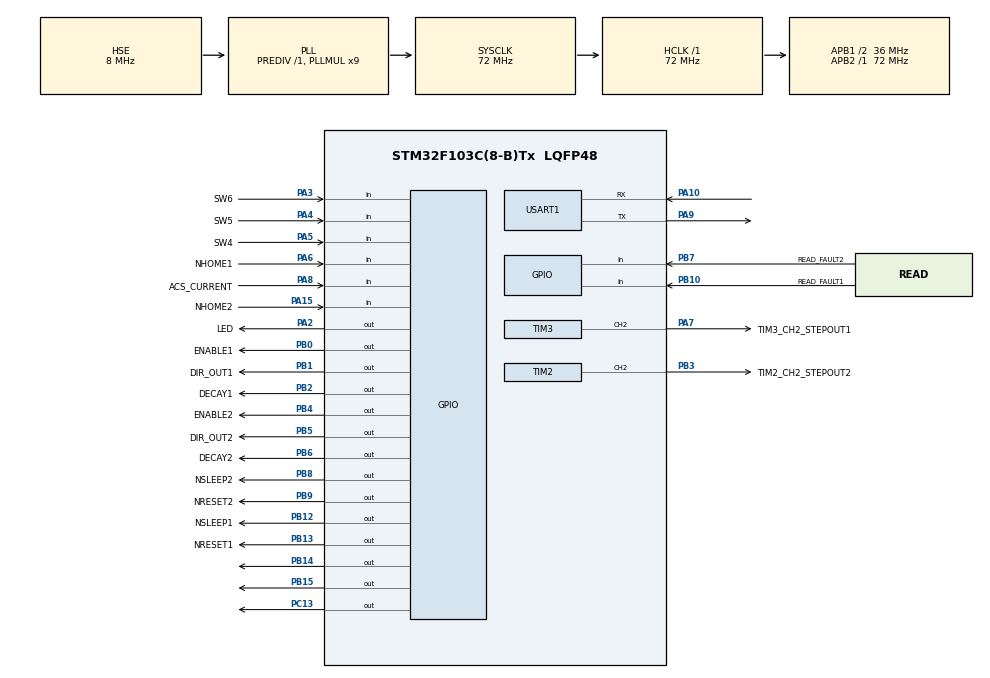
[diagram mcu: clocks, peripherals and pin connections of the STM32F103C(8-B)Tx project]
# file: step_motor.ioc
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Mcu.Family=STM32F1
Mcu.Name=STM32F103C(8-B)Tx
Mcu.Package=LQFP48
NVIC.PriorityGroup=NVIC_PRIORITYGROUP_4
NVIC.TIM2_IRQn=true\:0\:0\:false\:false\:true\:true\:true
NVIC.TIM3_IRQn=true\:0\:0\:false\:false\:true\:true\:true
NVIC.USART1_IRQn=true\:0\:0\:false\:false\:true\:true\:true
PA10.Mode=Asynchronous
PA10.Signal=USART1_RX
PA13.Mode=Serial_Wire
PA13.Signal=SYS_JTMS-SWDIO
PA14.Mode=Serial_Wire
PA14.Signal=SYS_JTCK-SWCLK
PA15.GPIO_Label=NHOME2
PA15.GPIO_PuPd=GPIO_PULLUP
PA15.Signal=GPIO_Input
PA2.GPIO_Label=LED
PA2.PinState=GPIO_PIN_SET
PA2.Signal=GPIO_Output
PA3.GPIO_Label=SW6
PA3.Signal=GPIO_Input
PA4.GPIO_Label=SW5
PA4.Signal=GPIO_Input
PA5.GPIO_Label=SW4
PA5.Signal=GPIO_Input
PA6.GPIO_Label=NHOME1
PA6.GPIO_PuPd=GPIO_PULLUP
PA6.Signal=GPIO_Input
PA7.GPIO_Label=TIM3_CH2_STEPOUT1
PA7.Signal=S_TIM3_CH2
PA8.GPIO_Label=ACS_CURRENT
PA8.Signal=GPIO_Input
PA9.Mode=Asynchronous
PA9.Signal=USART1_TX
PB0.GPIO_Label=ENABLE1
PB0.PinState=GPIO_PIN_RESET
PB0.Signal=GPIO_Output
PB1.GPIO_Label=DIR_OUT1
PB1.Signal=GPIO_Output
PB10.GPIO_Label=READ_FAULT1
PB10.GPIO_PuPd=GPIO_PULLUP
PB10.Signal=GPIO_Input
PB12.GPIO_Label=NSLEEP1
PB12.PinState=GPIO_PIN_SET
PB12.Signal=GPIO_Output
PB13.GPIO_Label=NRESET1
PB13.PinState=GPIO_PIN_SET
PB13.Signal=GPIO_Output
PB14.Signal=GPIO_Output
PB15.Signal=GPIO_Output
PB2.GPIO_Label=DECAY1
PB2.PinState=GPIO_PIN_SET
PB2.Signal=GPIO_Output
PB3.GPIO_Label=TIM2_CH2_STEPOUT2
PB3.Signal=S_TIM2_CH2
PB4.GPIO_Label=ENABLE2
PB4.PinState=GPIO_PIN_RESET
PB4.Signal=GPIO_Output
PB5.GPIO_Label=DIR_OUT2
PB5.Signal=GPIO_Output
PB6.GPIO_Label=DECAY2
PB6.PinState=GPIO_PIN_SET
PB6.Signal=GPIO_Output
PB7.GPIO_Label=READ_FAULT2
PB7.GPIO_PuPd=GPIO_PULLUP
PB7.Signal=GPIO_Input
PB8.GPIO_Label=NSLEEP2
PB8.PinState=GPIO_PIN_SET
PB8.Signal=GPIO_Output
PB9.GPIO_Label=NRESET2
PB9.PinState=GPIO_PIN_SET
PB9.Signal=GPIO_Output
PC13-TAMPER-RTC.Signal=GPIO_Output
PD0-OSC_IN.Mode=HSE-External-Oscillator
PD0-OSC_IN.Signal=RCC_OSC_IN
PD1-OSC_OUT.Mode=HSE-External-Oscillator
PD1-OSC_OUT.Signal=RCC_OSC_OUT
ProjectManager.HeapSize=0x200
ProjectManager.StackSize=0x400
ProjectManager.TargetToolchain=STM32CubeIDE
RCC.ADCPresc=RCC_ADCPCLK2_DIV6
RCC.AHBFreq_Value=72000000
RCC.APB1CLKDivider=RCC_HCLK_DIV2
RCC.APB1Freq_Value=36000000
RCC.APB1TimFreq_Value=72000000
RCC.APB2Freq_Value=72000000
RCC.APB2TimFreq_Value=72000000
RCC.HCLKFreq_Value=72000000
RCC.PLLMUL=RCC_PLL_MUL9
RCC.PLLSourceVirtual=RCC_PLLSOURCE_HSE
RCC.SYSCLKFreq_VALUE=72000000
RCC.SYSCLKSource=RCC_SYSCLKSOURCE_PLLCLK
RCC.USBFreq_Value=72000000
SH.S_TIM2_CH2.0=TIM2_CH2,PWM Generation2 CH2
SH.S_TIM3_CH2.0=TIM3_CH2,PWM Generation2 CH2
TIM2.Channel-PWM\ Generation2\ CH2=TIM_CHANNEL_2
TIM2.Period=10
TIM2.Prescaler=72
TIM3.Channel-PWM\ Generation2\ CH2=TIM_CHANNEL_2
TIM3.Period=10
TIM3.Prescaler=72
USART1.VirtualMode=VM_ASYNC
VP_TIM1_VS_OPM.Mode=OPM_bit
VP_TIM2_VS_ClockSourceINT.Mode=Internal
VP_TIM3_VS_ClockSourceINT.Mode=Internal
board=custom

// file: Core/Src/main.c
/* USER CODE BEGIN Header */
/**
  ******************************************************************************
  * @file           : main.c
  * @brief          : Main program body
  ******************************************************************************
  * @attention
  *
  * <h2><center>&copy; Copyright (c) 2020 STMicroelectronics.
  * All rights reserved.</center></h2>
  *
  * This software component is licensed by ST under BSD 3-Clause license,
  * the "License"; You may not use this file except in compliance with the
  * License. You may obtain a copy of the License at:
  *                        opensource.org/licenses/BSD-3-Clause
  *
  ******************************************************************************
  */
/* USER CODE END Header */
#include "main.h"
#include "tim.h"
#include "usart.h"
#include "gpio.h"

/* USER CODE BEGIN Includes */
#include "dwt_stm32_delay.h"
#include "stdbool.h"
#include "stdio.h"

long int global_poz_x_axis=0;
long int global_poz_y_axis=0;

bool pwm_mode=true;

long step_x_axis=0;
bool direction_x_axis=false;

long step_y_axis=0;
bool direction_y_axis=false;

#define CCW  1
#define CW  -1

#ifdef __GNUC__
	#define PUTCHAR_PROTOTYPE int __io_putchar(int ch)
	#else
	#define PUTCHAR_PROTOTYPE int fputc(int ch,FILE *f)
	#endif

	PUTCHAR_PROTOTYPE
	{
	    HAL_UART_Transmit(&huart1,(uint8_t*)&ch,1,100);

		return ch;

	}

	char board_id='1';

	char motor_id1='1';
	char motor_id2='2';

/* USER CODE END Includes */

void SystemClock_Config(void);
/* USER CODE BEGIN PFP */

void send_set_step_dir_PWM_X_axis(uint32_t step , int dir , uint16_t speed);
void send_set_step_dir_PWM_Y_axis(uint32_t step , int dir , uint16_t speed);

/* USER CODE END PFP */

/* USER CODE BEGIN 0 */

//-------- usart 1 var ------

uint8_t Rx_data[2],Rx_indx,Rx_Buffer[100],Transfer_flag;
int i=0;
char buffer[100];
int len;

void HAL_UART_RxCpltCallback(UART_HandleTypeDef *huart)
{
	  uint8_t i;

		if(huart->Instance==USART1)
		{

			//putchar((uint8_t)Rx_data[0]);

				if(Rx_indx==0){ for(i=0 ; i<100 ; i++ )Rx_Buffer[i]=0;}

				if(Rx_data[0]!='*') //cr lf '\r' | '\n'
				{
				  Rx_Buffer[Rx_indx++]=Rx_data[0];
				}
				else
				{
				   Rx_indx=0;
				   Transfer_flag=1;

				   if( Rx_Buffer[0] == 'A' && Rx_Buffer[1] == board_id)
				   {

						   char mstep[6] ="0000";
						   char mspeed[6]="0000";

						   mspeed[0]=Rx_Buffer[7];
						   mspeed[1]=Rx_Buffer[8];
						   mspeed[2]=Rx_Buffer[9];
						   mspeed[3]=Rx_Buffer[10];

						   mstep[0]=Rx_Buffer[12];
						   mstep[1]=Rx_Buffer[13];
						   mstep[2]=Rx_Buffer[14];
						   mstep[3]=Rx_Buffer[15];

						   uint8_t mdir = (Rx_Buffer[5])-48;

						   printf("step=%d, speed=%d, dir:%d\n", atoi(mstep),atoi(mspeed) , mdir );

						   if( Rx_Buffer[3] == motor_id1 )
						   {
							   send_set_step_dir_PWM_X_axis(   atoi(mstep) ,  mdir  ,   atoi(mspeed)  );

						   }
						   else if( Rx_Buffer[3] == motor_id2 )
						   {
							   send_set_step_dir_PWM_Y_axis(   atoi(mstep) ,   mdir   ,   atoi(mspeed)  );

						   }

				    }
				    else if( Rx_Buffer[1] == 'S' && Rx_Buffer[2] == 'T' && Rx_Buffer[3] == 'P' )//STOP
				    {
				    	  printf("STOP MOTOR\n" );
				    	  ENABLE_M_1(1);//0 ENABLE, 1 DISABLE
				    	  ENABLE_M_2(1);//0 ENABLE, 1 DISABLE
				    	  HAL_TIM_PWM_Stop(&htim3, TIM_CHANNEL_2);//stop pulse ch y axis
				    	  HAL_TIM_PWM_Stop(&htim2, TIM_CHANNEL_2);//stop pulse ch y axis
				    }
				    else if( Rx_Buffer[1] == 'S' && Rx_Buffer[2] == 'T' && Rx_Buffer[3] == 'P' )//STOP
					{
						  printf("STOP MOTOR\n" );
						  ENABLE_M_1(1);//0 ENABLE, 1 DISABLE
						  ENABLE_M_2(1);//0 ENABLE, 1 DISABLE
						  HAL_TIM_PWM_Stop(&htim3, TIM_CHANNEL_2);//stop pulse ch y axis
						  HAL_TIM_PWM_Stop(&htim2, TIM_CHANNEL_2);//stop pulse ch y axis
					}
				    else if( Rx_Buffer[1] == 'S' && Rx_Buffer[2] == 'L' && Rx_Buffer[3] == 'P' )//SLEEP
					{
				    	uint8_t s = 48 - (Rx_Buffer[4]) ;

				    	SLEEP_1(s);
						SLEEP_2(s);
					}
				    else if( Rx_Buffer[1] == 'R' && Rx_Buffer[2] == 'P' && Rx_Buffer[3] == 'T' )//SLEEP
					{

				    	if(Rx_Buffer[4] == '1')
				    	{
				    		printf("position motor 1=<%d>\n",global_poz_x_axis);
				    	}
				    	if(Rx_Buffer[4] == '2')
						{
				    		printf("position motor 2=<%d>\n",global_poz_y_axis);
						}

					}
				    else if( Rx_Buffer[1] == 'Z' && Rx_Buffer[2] == 'R' && Rx_Buffer[3] == 'O' )//SLEEP
					{

						if(Rx_Buffer[4] == '1')
						{
							 global_poz_x_axis=0;
						}
						if(Rx_Buffer[4] == '2')
						{
							global_poz_y_axis=0;
						}

					}

				}
				HAL_UART_Receive_IT(&huart1,(uint8_t *)Rx_data,1);

		}

}

//############################ delay mode ##################################################################################

void send_set_step_dir_DLY_x_axis(uint32_t step , int dir,uint16_t speed)
{

	if(dir==1)
	{
		//HAL_GPIO_WritePin(GPIOB, GPIO_PIN_13, GPIO_PIN_SET);
		SET_DIR_1(1);
	}
	else
	{
		SET_DIR_1(0);
		//HAL_GPIO_WritePin(GPIOB, GPIO_PIN_13, GPIO_PIN_RESET);
	}

	for(uint32_t i=0 ; i < step ; i++)
	{
		HAL_GPIO_TogglePin(TIM3_CH2_STEPOUT1_GPIO_Port , TIM3_CH2_STEPOUT1_Pin);
		//HAL_GPIO_WritePin(GPIOB, GPIO_PIN_12, GPIO_PIN_SET);

		DWT_Delay_us(speed);//200
		//HAL_Delay(1);

//		HAL_GPIO_WritePin(GPIOB, GPIO_PIN_12, GPIO_PIN_RESET);
//		DWT_Delay_us(1);

	}

}

void send_set_step_dir_DLY_y_axis(uint32_t step , int dir,uint16_t speed)
{

	if(dir==1)
	{
		//HAL_GPIO_WritePin(GPIOB, GPIO_PIN_13, GPIO_PIN_SET);
		SET_DIR_2(1);
	}
	else
	{
		SET_DIR_2(0);
		//HAL_GPIO_WritePin(GPIOB, GPIO_PIN_13, GPIO_PIN_RESET);
	}

	for(uint32_t i=0 ; i < step ; i++)
	{
		HAL_GPIO_TogglePin(TIM2_CH2_STEPOUT2_GPIO_Port , TIM2_CH2_STEPOUT2_Pin);
		//HAL_GPIO_WritePin(GPIOB, GPIO_PIN_12, GPIO_PIN_SET);

		DWT_Delay_us(speed);//200
		//HAL_Delay(1);

//		HAL_GPIO_WritePin(GPIOB, GPIO_PIN_12, GPIO_PIN_RESET);
//		DWT_Delay_us(1);

	}

}

//########################## pwm mode ####################################################################################
void HAL_TIM_PWM_PulseFinishedCallback(TIM_HandleTypeDef *htim)
{

    if(htim->Instance==TIM3)//interrupt with every pulse for y ch--------------------------------------------------------------------
	{

				    if(direction_x_axis )
					{
				    	step_x_axis--;
				    	global_poz_x_axis--;
				    	if( step_x_axis<=0)//50000 --->>>  step_x_axis = s_value_x_p
						{
						   HAL_TIM_PWM_Stop(&htim3, TIM_CHANNEL_2);//stop pulse ch y axis
						}

					}
				    else
					{

				    	step_x_axis++;
				    	global_poz_x_axis++;
				    	if( step_x_axis>=0)//50000 --->>>  step_x_axis = s_value_x_p
						{
						   HAL_TIM_PWM_Stop(&htim3, TIM_CHANNEL_2);//stop pulse ch y axis
						}
					}

	}

    if(htim->Instance==TIM2)//interrupt with every pulse for y ch--------------------------------------------------------------------
	{

			if(direction_y_axis )
			{
				step_y_axis--;
				global_poz_y_axis--;
				if( step_y_axis<=0)//50000 --->>>  step_x_axis = s_value_x_p
				{
				   HAL_TIM_PWM_Stop(&htim2, TIM_CHANNEL_2);//stop pulse ch y axis
				}
			}
			else
			{
				step_y_axis++;
				global_poz_y_axis++;
				if( step_y_axis>=0)//50000 --->>>  step_x_axis = s_value_x_p
				{
				   HAL_TIM_PWM_Stop(&htim2, TIM_CHANNEL_2);//stop pulse ch y axis
				}
			}

	}

}
//----------------------------------------------
//##########################################################################################
//##########################################################################################
//##########################################################################################

void send_set_step_dir_PWM_X_axis(uint32_t step , int dir , uint16_t speed)
{

	ENABLE_M_1(0);//0 ENABLE, 1 DISABLE

	if(dir==0)
	{
		 direction_x_axis = true;
		 SET_DIR_1(1);
		 step_x_axis = step;
		//HAL_GPIO_WritePin(GPIOB, GPIO_PIN_13, GPIO_PIN_SET);
	}
	else
	{
		step_x_axis = step *(-1);
		direction_x_axis=false;
		SET_DIR_1(0);
		//HAL_GPIO_WritePin(GPIOB, GPIO_PIN_13, GPIO_PIN_RESET);
	}

	//step_x_axis = step;

	htim3.Instance = TIM3;
	htim3.Init.Prescaler = speed-1 ; // 3-1
	htim3.Init.CounterMode = TIM_COUNTERMODE_UP;
	htim3.Init.Period = 100;// speed-1
	htim3.Init.ClockDivision = TIM_CLOCKDIVISION_DIV1;
	htim3.Init.AutoReloadPreload = TIM_AUTORELOAD_PRELOAD_DISABLE;
	HAL_TIM_Base_Init(&htim3) ;

	 HAL_TIM_PWM_Start_IT(&htim3, TIM_CHANNEL_2);
	__HAL_TIM_SET_COMPARE(&htim3, TIM_CHANNEL_2,50);// 40

}

void send_set_step_dir_PWM_Y_axis(uint32_t step , int dir , uint16_t speed)
{

	ENABLE_M_2(0);//0 ENABLE, 1 DISABLE

	if(dir==0)
	{
		direction_y_axis=true;
		 SET_DIR_2(1);
		 step_y_axis = step;
		//HAL_GPIO_WritePin(GPIOB, GPIO_PIN_13, GPIO_PIN_SET);
	}
	else
	{
		step_y_axis = step *(-1);
		direction_y_axis=false;
		SET_DIR_2(0);
		//HAL_GPIO_WritePin(GPIOB, GPIO_PIN_13, GPIO_PIN_RESET);
	}

	htim2.Instance = TIM2;
	htim2.Init.Prescaler = speed-1 ; // 3-1
	htim2.Init.CounterMode = TIM_COUNTERMODE_UP;
	htim2.Init.Period = 100;// speed-1
	htim2.Init.ClockDivision = TIM_CLOCKDIVISION_DIV1;
	htim2.Init.AutoReloadPreload = TIM_AUTORELOAD_PRELOAD_DISABLE;
	HAL_TIM_Base_Init(&htim2) ;

	 HAL_TIM_PWM_Start_IT(&htim2, TIM_CHANNEL_2);
	__HAL_TIM_SET_COMPARE(&htim2, TIM_CHANNEL_2,50);// 40

}

//##############################################################################################################

void  get_dip_sw_setting()
{

	  if(!READ_SW2)
	  {
		  board_id='1';
	  }
	  else
	  {
		  board_id='2';
	  }

}

/* USER CODE END 0 */

int main(void)
{

  /* MCU Configuration--------------------------------------------------------*/

  /* Reset of all peripherals, Initializes the Flash interface and the Systick. */
  HAL_Init();

  /* Configure the system clock */
  SystemClock_Config();

  /* Initialize all configured peripherals */
  MX_GPIO_Init();
  MX_TIM1_Init();
  MX_TIM2_Init();
  MX_USART1_UART_Init();
  MX_TIM3_Init();
  /* USER CODE BEGIN 2 */

  HAL_UART_Receive_IT(&huart1,(uint8_t *)Rx_data,1);

  if(!pwm_mode)
  {
	  GPIO_InitTypeDef GPIO_InitStruct = {0};
	  GPIO_InitStruct.Pin = TIM3_CH2_STEPOUT1_Pin;
	  GPIO_InitStruct.Mode = GPIO_MODE_OUTPUT_PP;
	  GPIO_InitStruct.Pull = GPIO_NOPULL;
	  GPIO_InitStruct.Speed = GPIO_SPEED_FREQ_HIGH;
	  HAL_GPIO_Init(TIM3_CH2_STEPOUT1_GPIO_Port, &GPIO_InitStruct);

	  GPIO_InitStruct.Pin = TIM2_CH2_STEPOUT2_Pin ;
	  GPIO_InitStruct.Mode = GPIO_MODE_OUTPUT_PP;
	  GPIO_InitStruct.Pull = GPIO_NOPULL;
	  GPIO_InitStruct.Speed = GPIO_SPEED_FREQ_HIGH;
	  HAL_GPIO_Init(TIM2_CH2_STEPOUT2_GPIO_Port, &GPIO_InitStruct);
  }

  DWT_Delay_Init();

  uint16_t speed=600;

  ENABLE_M_1(0);//0 ENABLE, 1 DISABLE
  ENABLE_M_2(0);//0 ENABLE, 1 DISABLE

 printf("============system started============\n");

 get_dip_sw_setting();

  /* USER CODE END 2 */

  /* Infinite loop */
  /* USER CODE BEGIN WHILE */

  while (1)
  {

	  get_dip_sw_setting();

	 // printf("============\n");

	  LED_TGL;

	  HAL_Delay(700);

  if(!READ_SW1)
  {

		   if(!pwm_mode)
		   {
				send_set_step_dir_DLY_x_axis(1000  , CCW  , speed);
				send_set_step_dir_DLY_y_axis(1000  , CCW  , speed);
				HAL_Delay(2000);
				send_set_step_dir_DLY_x_axis(1000  , CW  , speed);
				send_set_step_dir_DLY_y_axis(1000  , CW  , speed);
				HAL_Delay(2000);
		   }
		   else
		   {
			   send_set_step_dir_PWM_X_axis(1000  , CCW , speed);
			   send_set_step_dir_PWM_Y_axis(1000  , CCW , speed);
			   HAL_Delay(2000);
			   send_set_step_dir_PWM_X_axis(1000  ,  CW , speed);
			   send_set_step_dir_PWM_Y_axis(1000  ,  CW , speed);
			   HAL_Delay(2000);
		   }

		   speed+=50;

  }

    /* USER CODE END WHILE */

  }
}

void SystemClock_Config(void)
{
  RCC_OscInitTypeDef RCC_OscInitStruct = {0};
  RCC_ClkInitTypeDef RCC_ClkInitStruct = {0};

  /** Initializes the RCC Oscillators according to the specified parameters
  * in the RCC_OscInitTypeDef structure.
  */
  RCC_OscInitStruct.OscillatorType = RCC_OSCILLATORTYPE_HSE;
  RCC_OscInitStruct.HSEState = RCC_HSE_ON;
  RCC_OscInitStruct.HSEPredivValue = RCC_HSE_PREDIV_DIV1;
  RCC_OscInitStruct.HSIState = RCC_HSI_ON;
  RCC_OscInitStruct.PLL.PLLState = RCC_PLL_ON;
  RCC_OscInitStruct.PLL.PLLSource = RCC_PLLSOURCE_HSE;
  RCC_OscInitStruct.PLL.PLLMUL = RCC_PLL_MUL9;
  if (HAL_RCC_OscConfig(&RCC_OscInitStruct) != HAL_OK)
  {
    Error_Handler();
  }
  /** Initializes the CPU, AHB and APB buses clocks
  */
  RCC_ClkInitStruct.ClockType = RCC_CLOCKTYPE_HCLK|RCC_CLOCKTYPE_SYSCLK
                              |RCC_CLOCKTYPE_PCLK1|RCC_CLOCKTYPE_PCLK2;
  RCC_ClkInitStruct.SYSCLKSource = RCC_SYSCLKSOURCE_PLLCLK;
  RCC_ClkInitStruct.AHBCLKDivider = RCC_SYSCLK_DIV1;
  RCC_ClkInitStruct.APB1CLKDivider = RCC_HCLK_DIV2;
  RCC_ClkInitStruct.APB2CLKDivider = RCC_HCLK_DIV1;

  if (HAL_RCC_ClockConfig(&RCC_ClkInitStruct, FLASH_LATENCY_2) != HAL_OK)
  {
    Error_Handler();
  }
}

void Error_Handler(void)
{
}

/************************ (C) COPYRIGHT STMicroelectronics *****END OF FILE****/
